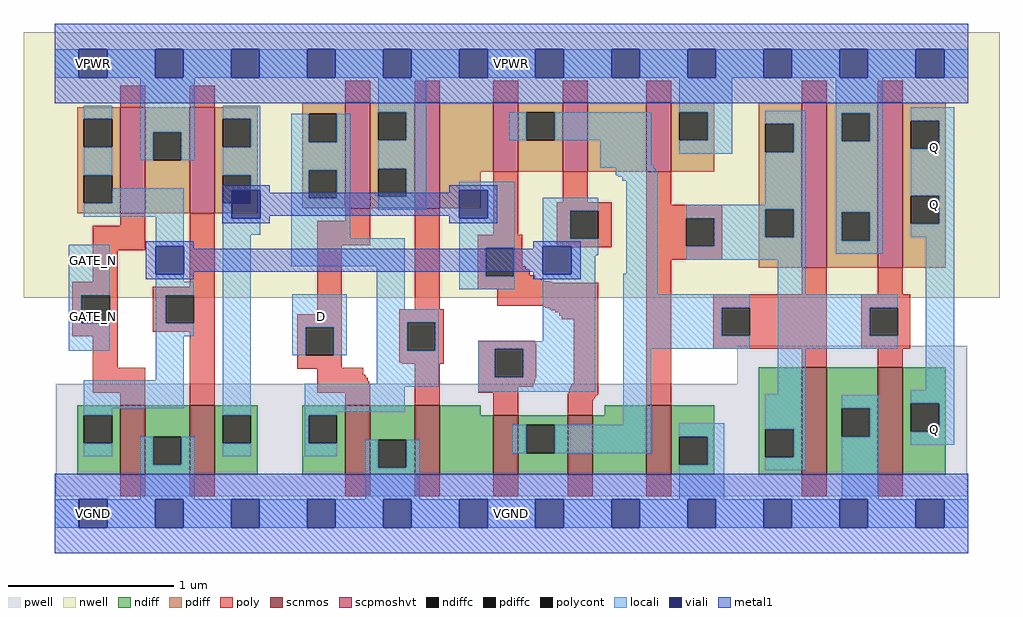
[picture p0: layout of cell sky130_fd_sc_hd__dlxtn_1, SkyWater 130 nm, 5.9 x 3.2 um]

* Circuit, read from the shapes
.subckt sky130_fd_sc_hd__dlxtn_1 D GATE_N VGND VNB VPB VPWR Q
XM1 VGND GATE_N n1 VNB sky130_fd_pr__nfet_01v8 w=0.42 l=0.15
XM2 n2 n1 VGND VNB sky130_fd_pr__nfet_01v8 w=0.42 l=0.15
XM3 VGND D n3 VNB sky130_fd_pr__nfet_01v8 w=0.42 l=0.15
XM4 n4 n3 VGND VNB sky130_fd_pr__nfet_01v8 w=0.42 l=0.15
XM5 n5 n1 n4 VNB sky130_fd_pr__nfet_01v8 w=0.36 l=0.15
XM6 n6 n2 n5 VNB sky130_fd_pr__nfet_01v8 w=0.36 l=0.15
XM7 VGND n7 n6 VNB sky130_fd_pr__nfet_01v8 w=0.42 l=0.15
XM8 VGND n5 n7 VNB sky130_fd_pr__nfet_01v8 w=0.65 l=0.15
XM9 Q n7 VGND VNB sky130_fd_pr__nfet_01v8 w=0.65 l=0.15
XM10 VPWR GATE_N n1 VPB sky130_fd_pr__pfet_01v8_hvt w=0.64 l=0.15
XM11 n2 n1 VPWR VPB sky130_fd_pr__pfet_01v8_hvt w=0.64 l=0.15
XM12 VPWR D n3 VPB sky130_fd_pr__pfet_01v8_hvt w=0.64 l=0.15
XM13 n8 n3 VPWR VPB sky130_fd_pr__pfet_01v8_hvt w=0.64 l=0.15
XM14 n5 n2 n8 VPB sky130_fd_pr__pfet_01v8_hvt w=0.42 l=0.15
XM15 n9 n1 n5 VPB sky130_fd_pr__pfet_01v8_hvt w=0.42 l=0.15
XM16 VPWR n7 n9 VPB sky130_fd_pr__pfet_01v8_hvt w=0.42 l=0.15
XM17 VPWR n5 n7 VPB sky130_fd_pr__pfet_01v8_hvt w=1 l=0.15
XM18 Q n7 VPWR VPB sky130_fd_pr__pfet_01v8_hvt w=1 l=0.15
.ends

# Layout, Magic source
magic
tech sky130A
magscale 1 2
<< nwell >>
rect -38 261 1142 582
<< pwell >>
rect 825 157 1103 203
rect 1 21 1103 157
rect 30 -17 64 21
<< scnmos >>
rect 79 47 109 131
rect 163 47 193 131
rect 351 47 381 131
rect 435 47 465 131
rect 530 47 560 119
rect 620 47 650 119
rect 715 47 745 131
rect 903 47 933 177
rect 995 47 1025 177
<< scpmoshvt >>
rect 79 363 109 491
rect 163 363 193 491
rect 351 369 381 497
rect 435 369 465 497
rect 530 413 560 497
rect 614 413 644 497
rect 715 413 745 497
rect 903 297 933 497
rect 995 297 1025 497
<< ndiff >>
rect 27 119 79 131
rect 27 85 35 119
rect 69 85 79 119
rect 27 47 79 85
rect 109 93 163 131
rect 109 59 119 93
rect 153 59 163 93
rect 109 47 163 59
rect 193 119 245 131
rect 193 85 203 119
rect 237 85 245 119
rect 193 47 245 85
rect 299 119 351 131
rect 299 85 307 119
rect 341 85 351 119
rect 299 47 351 85
rect 381 89 435 131
rect 381 55 391 89
rect 425 55 435 89
rect 381 47 435 55
rect 465 119 515 131
rect 665 119 715 131
rect 465 47 530 119
rect 560 107 620 119
rect 560 73 570 107
rect 604 73 620 107
rect 560 47 620 73
rect 650 47 715 119
rect 745 93 797 131
rect 745 59 755 93
rect 789 59 797 93
rect 745 47 797 59
rect 851 102 903 177
rect 851 68 859 102
rect 893 68 903 102
rect 851 47 903 68
rect 933 127 995 177
rect 933 93 951 127
rect 985 93 995 127
rect 933 47 995 93
rect 1025 133 1077 177
rect 1025 99 1035 133
rect 1069 99 1077 133
rect 1025 47 1077 99
<< pdiff >>
rect 27 477 79 491
rect 27 443 35 477
rect 69 443 79 477
rect 27 409 79 443
rect 27 375 35 409
rect 69 375 79 409
rect 27 363 79 375
rect 109 461 163 491
rect 109 427 119 461
rect 153 427 163 461
rect 109 363 163 427
rect 193 477 245 491
rect 193 443 203 477
rect 237 443 245 477
rect 193 409 245 443
rect 193 375 203 409
rect 237 375 245 409
rect 193 363 245 375
rect 299 483 351 497
rect 299 449 307 483
rect 341 449 351 483
rect 299 415 351 449
rect 299 381 307 415
rect 341 381 351 415
rect 299 369 351 381
rect 381 485 435 497
rect 381 451 391 485
rect 425 451 435 485
rect 381 417 435 451
rect 381 383 391 417
rect 425 383 435 417
rect 381 369 435 383
rect 465 413 530 497
rect 560 485 614 497
rect 560 451 570 485
rect 604 451 614 485
rect 560 413 614 451
rect 644 413 715 497
rect 745 485 797 497
rect 745 451 755 485
rect 789 451 797 485
rect 745 413 797 451
rect 851 471 903 497
rect 851 437 859 471
rect 893 437 903 471
rect 465 369 515 413
rect 851 368 903 437
rect 851 334 859 368
rect 893 334 903 368
rect 851 297 903 334
rect 933 484 995 497
rect 933 450 951 484
rect 985 450 995 484
rect 933 364 995 450
rect 933 330 951 364
rect 985 330 995 364
rect 933 297 995 330
rect 1025 475 1077 497
rect 1025 441 1035 475
rect 1069 441 1077 475
rect 1025 384 1077 441
rect 1025 350 1035 384
rect 1069 350 1077 384
rect 1025 297 1077 350
<< ndiffc >>
rect 35 85 69 119
rect 119 59 153 93
rect 203 85 237 119
rect 307 85 341 119
rect 391 55 425 89
rect 570 73 604 107
rect 755 59 789 93
rect 859 68 893 102
rect 951 93 985 127
rect 1035 99 1069 133
<< pdiffc >>
rect 35 443 69 477
rect 35 375 69 409
rect 119 427 153 461
rect 203 443 237 477
rect 203 375 237 409
rect 307 449 341 483
rect 307 381 341 415
rect 391 451 425 485
rect 391 383 425 417
rect 570 451 604 485
rect 755 451 789 485
rect 859 437 893 471
rect 859 334 893 368
rect 951 450 985 484
rect 951 330 985 364
rect 1035 441 1069 475
rect 1035 350 1069 384
<< poly >>
rect 79 491 109 517
rect 163 491 193 517
rect 351 497 381 523
rect 435 497 465 523
rect 530 497 560 523
rect 614 497 644 523
rect 715 497 745 523
rect 903 497 933 523
rect 995 497 1025 523
rect 79 348 109 363
rect 46 318 109 348
rect 46 280 76 318
rect 21 264 76 280
rect 163 274 193 363
rect 351 354 381 369
rect 21 230 32 264
rect 66 230 76 264
rect 21 214 76 230
rect 118 264 193 274
rect 118 230 134 264
rect 168 230 193 264
rect 317 324 381 354
rect 317 241 347 324
rect 435 247 465 369
rect 530 337 560 413
rect 614 376 644 413
rect 607 366 673 376
rect 511 321 565 337
rect 607 332 623 366
rect 657 332 673 366
rect 607 326 673 332
rect 608 324 673 326
rect 609 322 673 324
rect 715 373 745 413
rect 715 357 807 373
rect 715 323 763 357
rect 797 323 807 357
rect 511 287 521 321
rect 555 299 565 321
rect 715 307 807 323
rect 555 295 569 299
rect 555 288 574 295
rect 555 287 580 288
rect 511 284 580 287
rect 511 283 587 284
rect 511 282 589 283
rect 511 281 591 282
rect 511 280 598 281
rect 511 279 601 280
rect 511 271 657 279
rect 535 251 657 271
rect 590 250 657 251
rect 593 249 657 250
rect 596 248 657 249
rect 598 247 657 248
rect 118 220 193 230
rect 46 176 76 214
rect 46 146 109 176
rect 79 131 109 146
rect 163 131 193 220
rect 293 225 347 241
rect 293 191 303 225
rect 337 191 347 225
rect 293 176 347 191
rect 416 231 470 247
rect 600 246 657 247
rect 605 243 657 246
rect 610 239 657 243
rect 613 235 657 239
rect 416 197 426 231
rect 460 197 470 231
rect 416 183 470 197
rect 418 182 470 183
rect 420 181 470 182
rect 512 207 580 209
rect 512 205 581 207
rect 512 199 582 205
rect 293 175 373 176
rect 317 168 373 175
rect 317 166 375 168
rect 317 164 376 166
rect 317 160 378 164
rect 317 157 380 160
rect 317 146 381 157
rect 351 131 381 146
rect 435 131 465 181
rect 512 165 532 199
rect 566 165 582 199
rect 512 164 582 165
rect 512 161 581 164
rect 512 158 580 161
rect 512 153 578 158
rect 627 157 657 235
rect 626 156 657 157
rect 624 153 657 156
rect 512 146 560 153
rect 623 151 657 153
rect 622 148 657 151
rect 530 119 560 146
rect 621 145 657 148
rect 620 144 657 145
rect 620 143 656 144
rect 620 142 654 143
rect 620 140 653 142
rect 620 139 652 140
rect 620 137 651 139
rect 620 119 650 137
rect 715 131 745 307
rect 903 265 933 297
rect 995 265 1025 297
rect 796 249 933 265
rect 796 215 806 249
rect 840 215 933 249
rect 796 199 933 215
rect 975 249 1034 265
rect 975 215 985 249
rect 1019 215 1034 249
rect 975 199 1034 215
rect 903 177 933 199
rect 995 177 1025 199
rect 79 21 109 47
rect 163 21 193 47
rect 351 21 381 47
rect 435 21 465 47
rect 530 21 560 47
rect 620 21 650 47
rect 715 21 745 47
rect 903 21 933 47
rect 995 21 1025 47
<< polycont >>
rect 32 230 66 264
rect 134 230 168 264
rect 623 332 657 366
rect 763 323 797 357
rect 521 287 555 321
rect 303 191 337 225
rect 426 197 460 231
rect 532 165 566 199
rect 806 215 840 249
rect 985 215 1019 249
<< locali >>
rect 0 527 29 561
rect 63 527 121 561
rect 155 527 213 561
rect 247 527 305 561
rect 339 527 397 561
rect 431 527 489 561
rect 523 527 581 561
rect 615 527 673 561
rect 707 527 765 561
rect 799 527 857 561
rect 891 527 949 561
rect 983 527 1041 561
rect 1075 527 1104 561
rect 35 477 69 493
rect 35 409 69 443
rect 103 461 169 527
rect 103 427 119 461
rect 153 427 169 461
rect 203 477 248 493
rect 391 485 449 527
rect 755 485 819 527
rect 237 443 248 477
rect 203 409 248 443
rect 69 375 156 393
rect 35 359 156 375
rect 17 264 66 325
rect 17 230 32 264
rect 17 197 66 230
rect 122 323 156 359
rect 122 280 156 289
rect 237 391 248 409
rect 203 357 214 375
rect 203 337 248 357
rect 286 449 307 483
rect 341 449 357 483
rect 286 415 357 449
rect 286 381 307 415
rect 341 381 357 415
rect 122 264 168 280
rect 122 230 134 264
rect 122 214 168 230
rect 122 161 156 214
rect 35 127 156 161
rect 35 119 69 127
rect 203 119 237 337
rect 286 333 357 381
rect 425 451 449 485
rect 549 451 570 485
rect 604 451 721 485
rect 391 417 449 451
rect 659 421 721 451
rect 789 451 819 485
rect 755 435 819 451
rect 859 471 908 487
rect 893 437 908 471
rect 659 418 724 421
rect 425 383 449 417
rect 678 417 724 418
rect 678 413 726 417
rect 678 409 729 413
rect 681 407 729 409
rect 686 402 729 407
rect 391 367 449 383
rect 489 391 556 401
rect 523 357 556 391
rect 286 299 423 333
rect 287 225 353 265
rect 287 191 303 225
rect 337 191 353 225
rect 389 247 423 299
rect 489 321 556 357
rect 489 287 521 321
rect 555 287 556 321
rect 489 271 556 287
rect 590 366 657 382
rect 590 332 623 366
rect 590 323 657 332
rect 624 312 657 323
rect 624 289 653 312
rect 691 290 729 402
rect 859 373 908 437
rect 763 368 908 373
rect 763 357 859 368
rect 797 334 859 357
rect 893 334 908 368
rect 797 323 908 334
rect 763 307 908 323
rect 944 484 1001 527
rect 944 450 951 484
rect 985 450 1001 484
rect 944 364 1001 450
rect 944 330 951 364
rect 985 330 1001 364
rect 1035 475 1087 491
rect 1069 441 1087 475
rect 1035 384 1087 441
rect 1069 350 1087 384
rect 1035 334 1087 350
rect 944 314 1001 330
rect 389 231 464 247
rect 389 197 426 231
rect 460 197 464 231
rect 590 208 653 289
rect 389 157 464 197
rect 35 69 69 85
rect 103 59 119 93
rect 153 59 169 93
rect 203 69 237 85
rect 302 153 464 157
rect 512 199 653 208
rect 512 165 532 199
rect 566 165 653 199
rect 302 123 423 153
rect 512 147 653 165
rect 687 265 729 290
rect 874 265 908 307
rect 687 249 840 265
rect 687 215 806 249
rect 687 199 840 215
rect 874 249 1019 265
rect 874 215 985 249
rect 874 199 1019 215
rect 302 119 341 123
rect 302 85 307 119
rect 687 107 721 199
rect 874 144 908 199
rect 1053 149 1087 334
rect 302 69 341 85
rect 103 17 169 59
rect 375 55 391 89
rect 425 55 441 89
rect 553 73 570 107
rect 604 73 721 107
rect 755 93 809 109
rect 375 17 441 55
rect 789 59 809 93
rect 755 17 809 59
rect 859 102 908 144
rect 893 68 908 102
rect 859 52 908 68
rect 951 127 996 143
rect 985 93 996 127
rect 951 17 996 93
rect 1035 133 1087 149
rect 1069 99 1087 133
rect 1035 83 1087 99
rect 0 -17 29 17
rect 63 -17 121 17
rect 155 -17 213 17
rect 247 -17 305 17
rect 339 -17 397 17
rect 431 -17 489 17
rect 523 -17 581 17
rect 615 -17 673 17
rect 707 -17 765 17
rect 799 -17 857 17
rect 891 -17 949 17
rect 983 -17 1041 17
rect 1075 -17 1104 17
<< viali >>
rect 29 527 63 561
rect 121 527 155 561
rect 213 527 247 561
rect 305 527 339 561
rect 397 527 431 561
rect 489 527 523 561
rect 581 527 615 561
rect 673 527 707 561
rect 765 527 799 561
rect 857 527 891 561
rect 949 527 983 561
rect 1041 527 1075 561
rect 122 289 156 323
rect 214 375 237 391
rect 237 375 248 391
rect 214 357 248 375
rect 489 357 523 391
rect 590 289 624 323
rect 29 -17 63 17
rect 121 -17 155 17
rect 213 -17 247 17
rect 305 -17 339 17
rect 397 -17 431 17
rect 489 -17 523 17
rect 581 -17 615 17
rect 673 -17 707 17
rect 765 -17 799 17
rect 857 -17 891 17
rect 949 -17 983 17
rect 1041 -17 1075 17
<< metal1 >>
rect 0 561 1104 592
rect 0 527 29 561
rect 63 527 121 561
rect 155 527 213 561
rect 247 527 305 561
rect 339 527 397 561
rect 431 527 489 561
rect 523 527 581 561
rect 615 527 673 561
rect 707 527 765 561
rect 799 527 857 561
rect 891 527 949 561
rect 983 527 1041 561
rect 1075 527 1104 561
rect 0 496 1104 527
rect 202 391 260 397
rect 202 357 214 391
rect 248 388 260 391
rect 477 391 535 397
rect 477 388 489 391
rect 248 360 489 388
rect 248 357 260 360
rect 202 351 260 357
rect 477 357 489 360
rect 523 357 535 391
rect 477 351 535 357
rect 110 323 168 329
rect 110 289 122 323
rect 156 320 168 323
rect 578 323 636 329
rect 578 320 590 323
rect 156 292 590 320
rect 156 289 168 292
rect 110 283 168 289
rect 578 289 590 292
rect 624 289 636 323
rect 578 283 636 289
rect 0 17 1104 48
rect 0 -17 29 17
rect 63 -17 121 17
rect 155 -17 213 17
rect 247 -17 305 17
rect 339 -17 397 17
rect 431 -17 489 17
rect 523 -17 581 17
rect 615 -17 673 17
rect 707 -17 765 17
rect 799 -17 857 17
rect 891 -17 949 17
rect 983 -17 1041 17
rect 1075 -17 1104 17
rect 0 -48 1104 -17
<< labels >>
flabel locali s 305 221 339 255 0 FreeSans 200 0 0 0 D
port 1 nsew signal input
flabel locali s 30 221 64 255 0 FreeSans 200 0 0 0 GATE_N
port 2 nsew clock input
flabel locali s 1046 357 1080 391 0 FreeSans 200 0 0 0 Q
port 7 nsew signal output
flabel locali s 30 289 64 323 0 FreeSans 200 0 0 0 GATE_N
port 2 nsew clock input
flabel locali s 1046 425 1080 459 0 FreeSans 200 0 0 0 Q
port 7 nsew signal output
flabel locali s 1046 85 1080 119 0 FreeSans 200 0 0 0 Q
port 7 nsew signal output
flabel metal1 s 30 -17 64 17 0 FreeSans 200 0 0 0 VGND
port 3 nsew ground bidirectional abutment
flabel metal1 s 30 527 64 561 0 FreeSans 200 0 0 0 VPWR
port 6 nsew power bidirectional abutment
flabel nwell s 30 527 64 561 0 FreeSans 200 0 0 0 VPB
port 5 nsew power bidirectional
flabel nwell s 47 544 47 544 0 FreeSans 200 0 0 0 VPB
flabel pwell s 30 -17 64 17 0 FreeSans 200 0 0 0 VNB
port 4 nsew ground bidirectional
flabel pwell s 47 0 47 0 0 FreeSans 200 0 0 0 VNB
rlabel comment s 0 0 0 0 4 dlxtn_1
rlabel metal1 s 0 -48 1104 48 1 VGND
port 3 nsew ground bidirectional abutment
rlabel metal1 s 0 496 1104 592 1 VPWR
port 6 nsew power bidirectional abutment
<< properties >>
string FIXED_BBOX 0 0 1104 544
string GDS_END 2844680
string GDS_FILE $PDKPATH/libs.ref/sky130_fd_sc_hd/gds/sky130_fd_sc_hd.gds
string GDS_START 2834078
string LEFclass CORE
string LEFsite unithd
string LEFsymmetry X Y R90
string path 0.000 0.000 27.600 0.000 
<< end >>
